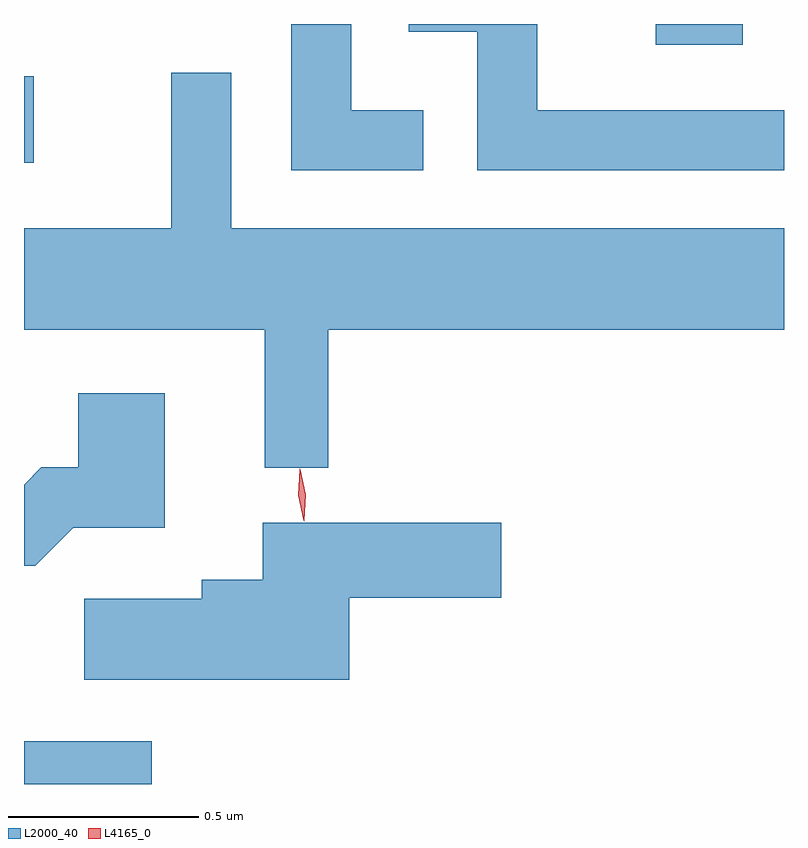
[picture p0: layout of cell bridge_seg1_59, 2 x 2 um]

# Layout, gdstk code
import gdstk
lib = gdstk.Library(unit=1e-6, precision=1e-09)
def R(c, l, rs):  # rectangles x0, y0, x1, y1
    for r in rs: c.add(gdstk.rectangle(r[:2], r[2:], *l))
def P(c, l, *ps):  # polygons
    for p in ps: c.add(gdstk.Polygon(p, *l))
L2000_40 = (2000, 40)
L4165_0 = (4165, 0)

bridge_seg1_59 = lib.new_cell('bridge_seg1_59')
R(bridge_seg1_59, L2000_40, [(1820.438,951.661,1820.774,951.774), (1820.438,953.296,1820.464,953.524), (1822.101,953.606,1822.329,953.661)])
P(bridge_seg1_59, L2000_40, [(1821.488,953.434),(1821.299,953.434),(1821.299,953.661),(1821.141,953.661),(1821.141,953.276),(1821.488,953.276)],
  [(1822.438,953.434),(1821.789,953.434),(1821.789,953.661),(1821.451,953.661),(1821.451,953.641),(1821.631,953.641),(1821.631,953.276),(1822.438,953.276)],
  [(1821.239,952.856),(1822.438,952.856),(1822.438,953.124),(1820.984,953.124),(1820.984,953.533),(1820.826,953.533),(1820.826,953.124),(1820.438,953.124),(1820.438,952.856),(1821.071,952.856),(1821.071,952.493),(1821.239,952.493)],
  [(1820.567,952.336),(1820.809,952.336),(1820.809,952.689),(1820.581,952.689),(1820.581,952.494),(1820.484,952.494),(1820.438,952.448),(1820.438,952.236),(1820.467,952.236)],
  [(1821.294,952.151),(1821.694,952.151),(1821.694,952.349),(1821.066,952.349),(1821.066,952.199),(1820.906,952.199),(1820.906,952.149),(1820.596,952.149),(1820.596,951.936),(1821.294,951.936)])
P(bridge_seg1_59, L4165_0, [(1821.175,952.353),(1821.174,952.354),(1821.16,952.421),(1821.164,952.489),(1821.164,952.49),(1821.165,952.489),(1821.179,952.422),(1821.175,952.354)])

lib.write_gds('bridge_seg1_59.gds')
